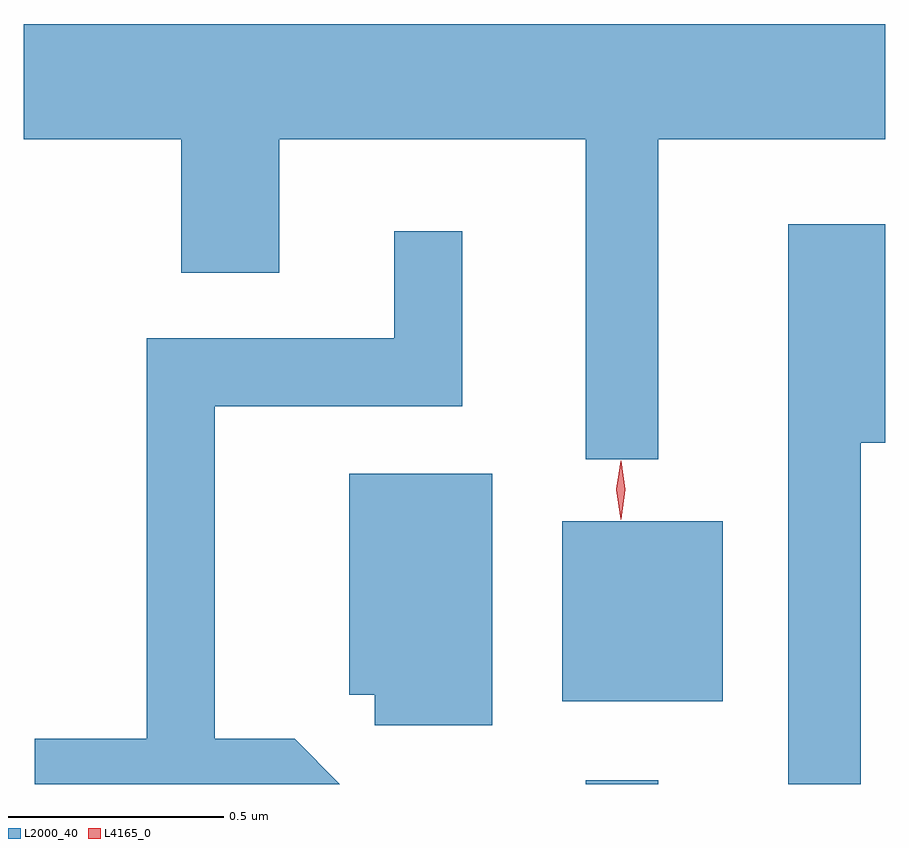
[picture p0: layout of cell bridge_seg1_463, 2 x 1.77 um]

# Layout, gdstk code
import gdstk
lib = gdstk.Library(unit=1e-6, precision=1e-09)
def R(c, l, rs):  # rectangles x0, y0, x1, y1
    for r in rs: c.add(gdstk.rectangle(r[:2], r[2:], *l))
def P(c, l, *ps):  # polygons
    for p in ps: c.add(gdstk.Polygon(p, *l))
L2000_40 = (2000, 40)
L4165_0 = (4165, 0)

bridge_seg1_463 = lib.new_cell('bridge_seg1_463')
R(bridge_seg1_463, L2000_40, [(198.331,864.779,198.499,864.788), (198.276,864.971,198.649,865.389)])
P(bridge_seg1_463, L2000_40, [(198.499,866.276),(199.026,866.276),(199.026,866.544),(197.026,866.544),(197.026,866.276),(197.391,866.276),(197.391,865.966),(197.619,865.966),(197.619,866.276),(198.331,866.276),(198.331,865.533),(198.499,865.533)],
  [(198.969,865.571),(199.026,865.571),(199.026,866.079),(198.801,866.079),(198.801,864.779),(198.969,864.779)],
  [(197.655,864.884),(197.469,864.884),(197.469,865.656),(198.044,865.656),(198.044,866.063),(197.886,866.063),(197.886,865.814),(197.311,865.814),(197.311,864.884),(197.051,864.884),(197.051,864.779),(197.76,864.779)],
  [(198.114,865.499),(197.781,865.499),(197.781,864.986),(197.841,864.986),(197.841,864.916),(198.114,864.916)])
P(bridge_seg1_463, L4165_0, [(198.412,865.398),(198.412,865.399),(198.402,865.463),(198.412,865.527),(198.412,865.527),(198.413,865.527),(198.422,865.463),(198.413,865.399)],
  [(198.412,865.393),(198.412,865.394),(198.402,865.462),(198.412,865.53),(198.412,865.53),(198.413,865.53),(198.422,865.462),(198.413,865.394)])

lib.write_gds('bridge_seg1_463.gds')
